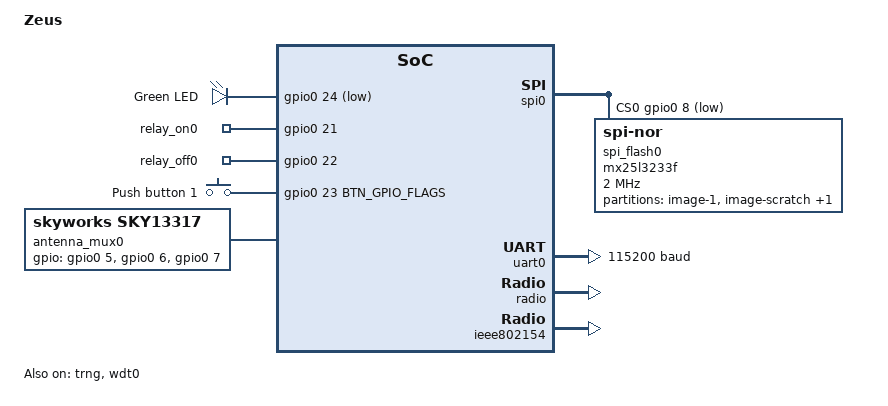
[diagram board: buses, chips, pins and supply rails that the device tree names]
/*
 * Copyright (c) 2024 Alexandre Bailon
 *
 * SPDX-License-Identifier: Apache-2.0
 */

/dts-v1/;

#include <ti/cc1352r7.dtsi>
#include <zephyr/dt-bindings/pinctrl/cc13xx_cc26xx-pinctrl.h>
#include <zephyr/dt-bindings/input/input-event-codes.h>

#define BTN_GPIO_FLAGS (GPIO_ACTIVE_LOW | GPIO_PULL_UP)

/ {
	model = "Zeus";
	compatible = "gordios,zeus";

	aliases {
		led0 = &led0;
		sw0 = &btn0;
		relay-on = &relay_on0;
		relay-off = &relay_off0;
	};

	chosen {
		zephyr,sram = &sram0;
		zephyr,flash = &flash0;
		zephyr,console = &uart0;
		zephyr,shell-uart = &uart0;
		zephyr,ieee802154 = &ieee802154;
		zephyr,code-partition = &slot0_partition;
	};

	leds {
		compatible = "gpio-leds";
		led0: led_0 {
			gpios = <&gpio0 24 GPIO_ACTIVE_LOW>;
			label = "Green LED";
		};

		relay_on0: relay_on {
			gpios = <&gpio0 21 GPIO_ACTIVE_HIGH>;
		};

		relay_off0: relay_off {
			gpios = <&gpio0 22 GPIO_ACTIVE_HIGH>;
		};
	};

	keys {
		compatible = "gpio-keys";
		btn0: btn_0 {
			gpios = <&gpio0 23 BTN_GPIO_FLAGS>;
			label = "Push button 1";
			zephyr,code = <INPUT_KEY_0>;
		};
	};

	/**
	 * The CC1352P LAUNCHXL has an on-board antenna switch (SKY13317-373LF) used to select the
	 * appropriate RF signal port based on the currently-used PHY.
	 *
	 * Truth table:
	 *
	 * Path        DIO28 DIO29 DIO30
	 * =========== ===== ===== =====
	 * Off         0     0     0
	 * Sub-1 GHz   0     0     1     // DIO30 mux to IOC_PORT_RFC_GPO0 for auto
	 * 2.4 GHz     1     0     0     // DIO28 mux to IOC_PORT_RFC_GPO0 for auto
	 * 20 dBm TX   0     1     0     // DIO29 mux to IOC_PORT_RFC_GPO3 for auto
	 */
	antenna_mux0: antenna_mux0 {
		compatible = "skyworks,sky13317";
		status = "okay";
		gpios = <&gpio0 5 GPIO_ACTIVE_HIGH>, <&gpio0 6 GPIO_ACTIVE_HIGH>, \
				<&gpio0 7 GPIO_ACTIVE_HIGH>;
		pinctrl-0 = <&board_ant_24g_off &board_ant_tx_pa_off &board_ant_subg_off>;
		pinctrl-1 = <&board_ant_24g_on &board_ant_tx_pa_off &board_ant_subg_off>;
		pinctrl-2 = <&board_ant_24g_on &board_ant_tx_pa_on &board_ant_subg_off>;
		pinctrl-3 = <&board_ant_24g_off &board_ant_tx_pa_off &board_ant_subg_on>;
		pinctrl-4 = <&board_ant_24g_off &board_ant_tx_pa_on &board_ant_subg_on>;
		pinctrl-names = "default", "ant_24g", "ant_24g_pa", "ant_subg", "ant_subg_pa";
	};
};

&flash0 {
	partitions {
		compatible = "fixed-partitions";
		#address-cells = <1>;
		#size-cells = <1>;

		/* Allocate 56 KiB for mcuboot */
		boot_partition: partition@0 {
			label = "mcuboot";
			reg = <0x00000000 DT_SIZE_K(56)>;
		};

		/* Allocate 640 KiB for application */
		slot0_partition: partition@e000 {
			label = "image-0";
			reg = <0x0000e000 DT_SIZE_K(640)>;
		};

		/* (avoid touching CCFG) */
	};
};

&spi0 {
	status = "okay";
	pinctrl-0 = <&spi0_sck_default &spi0_mosi_default
		     &spi0_miso_default &spi0_cs0_default>;
	pinctrl-names = "default";
	cs-gpios = <&gpio0 8 GPIO_ACTIVE_LOW>;

	spi_flash0: mx25l3233f@0 {
		compatible = "jedec,spi-nor";
		reg = <0>;
		spi-max-frequency = <2000000>;
		size = <0x2000000>;
		jedec-id = [c2 20 16];

		partitions {
			compatible = "fixed-partitions";
			#address-cells = <1>;
			#size-cells = <1>;

			/* Allocate 640 KiB for application */
			slot1_partition: partition@0 {
				label = "image-1";
				reg = <0x00000000 DT_SIZE_K(640)>;
			};

			/* Allocate 128 KiB scratch for image swap */
			scratch_partition: partition@A0000 {
				label = "image-scratch";
				reg = <0x000a0000 DT_SIZE_K(128)>;
			};

			storage_partition: partition@c0000 {
				label = "storage";
				reg = <0x000c0000 DT_SIZE_K(1280)>;
			};
		};
	};
};

&pinctrl {
	/* UART0 */
	uart0_tx_default: uart0_tx_default {
		pinmux = <13 IOC_PORT_MCU_UART0_TX>;
		bias-disable;
	};
	uart0_rx_default: uart0_rx_default {
		pinmux = <12 IOC_PORT_MCU_UART0_RX>;
		bias-disable;
		input-enable;
	};

	/* SPI0 */
	spi0_sck_default: spi0_sck_default {
		pinmux = <20 IOC_PORT_MCU_SSI0_CLK>;
		bias-disable;
	};

	spi0_mosi_default: spi0_mosi_default {
		pinmux = <19 IOC_PORT_MCU_SSI0_TX>;
		bias-disable;
	};

	spi0_miso_default: spi0_miso_default {
		pinmux = <18 IOC_PORT_MCU_SSI0_RX>;
		bias-disable;
		input-enable;
	};

	spi0_cs0_default: spi0_cs0_default {
		pinmux = <8 IOC_PORT_GPIO>;
		bias-disable;
	};

	/* On-board antenna pinmux states */
	board_ant_24g_off: board_ant_24g_off {
		pinmux = <5 IOC_PORT_GPIO>;
		bias-disable;
	};
	board_ant_24g_on: board_ant_24g_on {
		pinmux = <5 IOC_PORT_RFC_GPO0>;
		bias-disable;
	};
	board_ant_tx_pa_off: board_ant_tx_pa_off {
		pinmux = <6 IOC_PORT_GPIO>;
		bias-disable;
	};
	board_ant_tx_pa_on: board_ant_tx_pa_on {
		pinmux = <6 IOC_PORT_RFC_GPO3>;
		bias-disable;
	};
	board_ant_subg_off: board_ant_subg_off {
		pinmux = <7 IOC_PORT_GPIO>;
		bias-disable;
	};
	board_ant_subg_on: board_ant_subg_on {
		pinmux = <7 IOC_PORT_RFC_GPO0>;
		bias-disable;
	};
};

&cpu0 {
	clock-frequency = <48000000>;
};

&trng {
	status = "okay";
};

&gpio0 {
	status = "okay";
};

&uart0 {
	status = "okay";
	current-speed = <115200>;
	pinctrl-0 = <&uart0_rx_default &uart0_tx_default>;
	pinctrl-names = "default";
};

&radio {
	status = "okay";
};

&ieee802154 {
	status = "okay";
};

&ieee802154g {
	status = "disabled";
};

&wdt0 {
	status = "okay";
};
